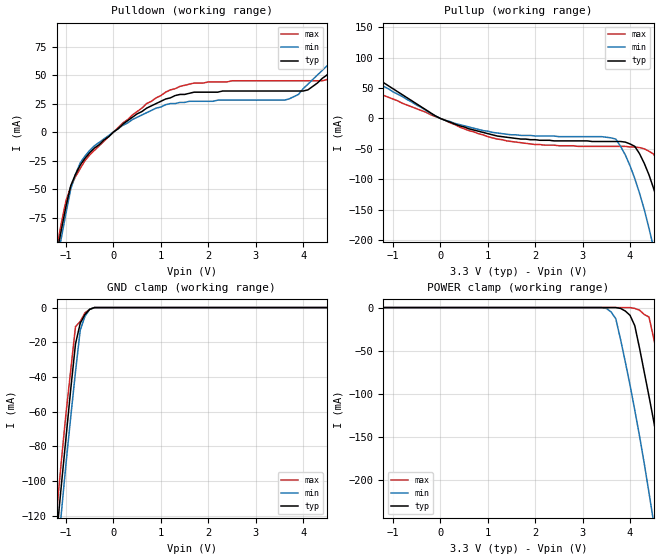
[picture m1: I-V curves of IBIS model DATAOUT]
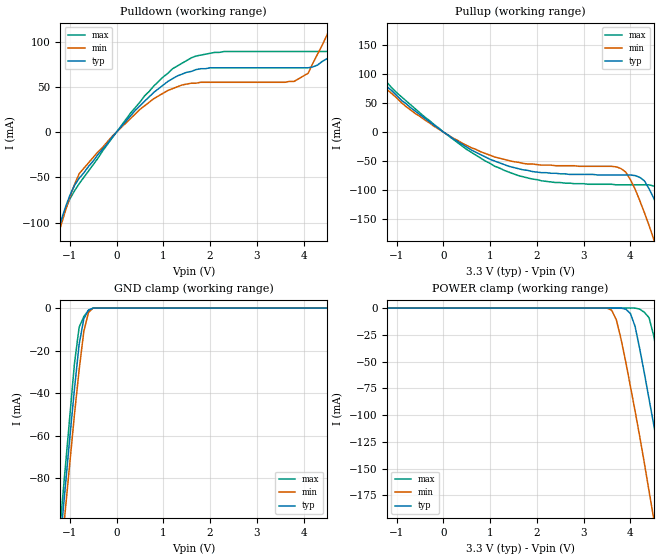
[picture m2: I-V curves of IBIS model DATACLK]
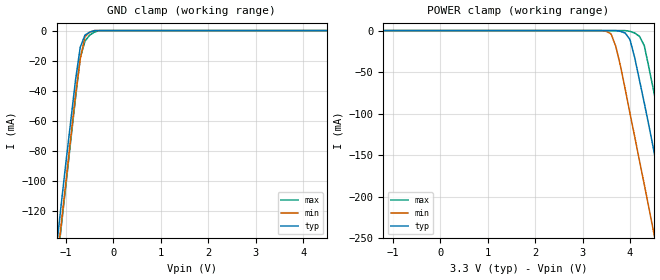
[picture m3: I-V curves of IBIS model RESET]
[IBIS Ver]   2.1
[File name]   x980xx.ibs
[File Rev]   1.1
[Date]   02/10/2005
[Source]   This IBIS model is derived from a combination of bench data
|   and package datasheet data.
[Disclaimer]   This IBIS model is provided "AS IS, WHERE IS, AND WITH NO
|   WARRANTY OF ANY KIND EITHER EXPRESSED OR IMPLIED, INCLUDING
|   BUT NOT LIMITED TO ANY IMPLIED WARRANTIES OF MECHANTABILITY
|   AND FITNESS FOR A PARTICULAR PURPOSE."
|   In no event will Intersil be liable for special, collateral,
|   incidental, or consequential damages in connection with or
|   arising out of the use of this IBIS model. Intersil reserves the
|   right to make changes to the products and IBIS models without
|   prior notice.
[Component]   X980xx
[Manufacturer] Intersil, Inc.
[Package]
|   typ   min   max
R_pkg   170m   147m   193m
L_pkg   8.73nH   7.02nH   10.43nH
C_pkg   1.11pF   0.85pF   1.37pF
[Pin]   signal_name   model_name
1   NC   NC
2   NC   NC
3   GNDA   GND
4   VBYPASS   POWER
5   GNDA   GND
6   VA   POWER
7   RIN1   RGBIN
8   GNDA   GND
9   VBYPASS   POWER
10   GNDA   GND
11   VA   POWER
12   GIN1   RGBIN
13   RGBGND1   GND
14   SOGIN1   SOGIN
15   GNDA   GND
16   VBYPASS   POWER
17   GNDA   GND
18   VA   POWER
19   BIN1   RGBIN
20   VA   POWER
21   GNDA   GND
22   RIN2   RGBIN
23   GNDA   GND
24   GIN2   RGBIN
25   RGBGND2   GND
26   SOGIN2   SOGIN
27   GNDA   GND
28   BIN2   RGBIN
29   VA   POWER
30   GNDA   GND
31   VCOREADC   POWER
32   GNDD   GND
33   HSYNCIN1   HSYNCIN
34   HSYNCIN2   HSYNCIN
35   VA   POWER
36   GNDA   GND
37   GNDX   GND
38   VX   POWER
39   XTALIN   XTALIN
40   XTALOUT   XTALIN
41   CLKINVIN   DIGIN
42   VPLL   POWER
43   GNDD   GND
44   VSYNCIN1   VSYNCIN
45   VSYNCIN2   VSYNCIN
46   RESETB   RESET
47   XTALCLKOUT   XCLKOUT
48   SADDR   DIGIN
49   SDA   SDA
50   SCL   VSYNCIN
51   GNDD   GND
52   VCORE   POWER
53   GNDD   GND
54   VD   POWER
55   BS7   DATAOUT
56   BS6   DATAOUT
57   BS5   DATAOUT
58   BS4   DATAOUT
59   BS3   DATAOUT
60   BS2   DATAOUT
61   BS1   DATAOUT
62   BS0   DATAOUT
63   NC   NC
64   VREGOUT   POWER
65   VREGIN   POWER
66   GNDD   GND
67   VD   POWER
68   BP7   DATAOUT
69   BP6   DATAOUT
70   BP5   DATAOUT
71   BP4   DATAOUT
72   BP3   DATAOUT
73   BP2   DATAOUT
74   BP1   DATAOUT
75   BP0   DATAOUT
76   GNDD   GND
77   VD   POWER
78   GNDD   GND
79   VCORE   POWER
80   GS7   DATAOUT
81   GS6   DATAOUT
82   GS5   DATAOUT
83   GS4   DATAOUT
84   GS3   DATAOUT
85   GS2   DATAOUT
86   GS1   DATAOUT
87   GS0   DATAOUT
88   GNDD   GND
89   VD   POWER
90   GP7   DATAOUT
91   GP6   DATAOUT
92   GP5   DATAOUT
93   GP4   DATAOUT
94   GP3   DATAOUT
95   GP2   DATAOUT
96   GP1   DATAOUT
97   GP0   DATAOUT
98   GNDD   GND
99   VD   POWER
100   RS7   DATAOUT
101   RS6   DATAOUT
102   RS5   DATAOUT
103   RS4   DATAOUT
104   RS3   DATAOUT
105   RS2   DATAOUT
106   RS1   DATAOUT
107   RS0   DATAOUT
108   GNDD   GND
109   VCORE   POWER
110   GNDD   GND
111   VD   POWER
112   RP7   DATAOUT
113   RP6   DATAOUT
114   RP5   DATAOUT
115   RP4   DATAOUT
116   RP3   DATAOUT
117   RP2   DATAOUT
118   RP1   DATAOUT
119   RP0   DATAOUT
120   GNDD   GND
121   DATAOUTCLK   DATACLK
122   DATAOUTCLKB   DATACLK
123   GNDD   GND
124   VD   POWER
125   HSOUT   SYNCOUT
126   VSOUT   SYNCOUT
127   HSYNCOUT   SYNCOUT
128   VSYNCOUT   SYNCOUT
| Models and submodels in the file (12): DATAOUT (Output), DATACLK (Output), RESET (Input), RGBIN (Input), XTALIN (Input), DIGIN (Input), HSYNCIN (Input), VSYNCIN (Input), SOGIN (Input), SYNCOUT (Output), XCLKOUT (Output), SDA (I/O)
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|   DATAOUT MODEL
[Model]   DATAOUT
Model_type   Output
C_comp   3.481pF  3.352pF  3.612pF
|   typ   min   max
[Voltage Range]   3.3   3   3.6
[Temperature Range]  25   85   -40
[Ramp]
dV/dt_r   1.950/1.585n   1.880/0.778n   1.870/0.540n
dV/dt_f   1.950/1.210n   1.880/1.039n   1.850/0.707n
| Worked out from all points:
|   slope of the pulldown table from 0 to 0.495 V, typ, clamps not added: 31.2 ohm
|   slope of the pullup table from 0 to 0.495 V, typ, clamps not added: 35.6 ohm
|   GND clamp passes 1 mA (typ) near -0.50 V on its own axis
[Pulldown]
|V   I(typ)   I(min)   I(max)
-3.3V     -1.144A    -1.032A    -1.176A
-1.2V     -108mA     -116mA     -103mA
-1.1V     -86mA      -93mA      -80mA
-900mV    -47mA      -50mA      -48mA
-500mV    -18mA      -16mA      -20mA
1.2V      30mA       25mA       37mA
3.7V      36mA       29mA       45mA
4.1V      37mA       42mA       45mA
4.5V      50mA       58mA       46mA
5.3V      78mA       91mA       77mA
5.7V      92mA       107mA      93mA
6.6V      124mA      144mA      128mA
[Pullup]
|V   I(typ)   I(min)   I(max)
-3.3V     150mA      134mA      98mA
400mV     -12mA      -10mA      -14mA
2V        -35mA      -29mA      -43mA
3.7V      -38mA      -34mA      -46mA
3.9V      -39mA      -60mA      -46mA
4.1V      -46mA      -99mA      -47mA
4.3V      -74mA      -150mA     -50mA
4.4V      -93mA      -181mA     -54mA
4.5V      -116mA     -214mA     -59mA
4.8V      -206mA     -335mA     -114mA
5.1V      -328mA     -484mA     -200mA
6.6V      -1.426A    -1.661A    -1.12A
[GND_Clamp]
|V   I(typ)   I(min)   I(max)
-3.3V     -979mA     -1.157A    -1.154A
-1.2V     -132mA     -149mA     -119mA
-1.1V     -103mA     -119mA     -89mA
-1V       -75mA      -90mA      -61mA
-900mV    -47mA      -63mA      -36mA
-800mV    -21mA      -37mA      -11mA
-700mV    -9mA       -13mA      -8mA
-600mV    -4mA       -5mA       -3mA
-500mV    -1mA       -1mA       -1mA
-400mV    0A         0A         0A
6.6V      0A         0A         0A
[Power_Clamp]
|V   I(typ)   I(min)   I(max)
-3.3V     0A         0A         0A
3.5V      0A         -1mA       0A
3.7V      0A         -13mA      0A
4V        -9mA       -90mA      0A
4.1V      -21mA      -119mA     -1mA
4.2V      -47mA      -149mA     -3mA
4.4V      -103mA     -215mA     -11mA
4.5V      -132mA     -250mA     -36mA
4.8V      -226mA     -365mA     -119mA
5.1V      -329mA     -495mA     -218mA
5.2V      -365mA     -541mA     -255mA
6.6V      -979mA     -1.359A    -957mA
|   DATACLK MODEL
[Model]   DATACLK
Model_type   Output
C_comp   3.384pF  3.254pF  3.516pF
|   typ   min   max
[Voltage Range]   3.3   3   3.6
[Temperature Range]  25   85   -40
[Ramp]
dV/dt_r   1.930/0.973n   1.850/0.935n   2.100/0.600n
dV/dt_f   1.930/0.984n   1.850/0.881n   2.100/0.560n
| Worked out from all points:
|   slope of the pulldown table from 0 to 0.495 V, typ, clamps not added: 17.2 ohm
|   slope of the pullup table from 0 to 0.495 V, typ, clamps not added: 19.2 ohm
|   GND clamp passes 1 mA (typ) near -0.60 V on its own axis
[Pulldown]
|V   I(typ)   I(min)   I(max)
-3.3V     -1.096A    -943mA     -1.164A
-1.3V     -120mA     -125mA     -120mA
-800mV    -51mA      -46mA      -57mA
-400mV    -25mA      -22mA      -29mA
800mV     44mA       37mA       51mA
1.6V      67mA       54mA       82mA
3.8V      71mA       56mA       89mA
4.1V      71mA       65mA       89mA
4.6V      84mA       119mA      89mA
4.9V      121mA      157mA      100mA
5.3V      168mA      216mA      117mA
6.6V      386mA      475mA      219mA
[Pullup]
|V   I(typ)   I(min)   I(max)
-3.3V     383mA      465mA      698mA
-2V       183mA      177mA      175mA
-1.4V     93mA       101mA      101mA
-900mV    55mA       51mA       61mA
1.1V      -50mA      -43mA      -59mA
2.1V      -70mA      -57mA      -84mA
3.8V      -74mA      -63mA      -91mA
4.2V      -78mA      -118mA     -91mA
4.5V      -114mA     -185mA     -93mA
4.8V      -177mA     -262mA     -118mA
5.1V      -262mA     -350mA     -181mA
6.6V      -1.009A    -953mA     -793mA
[GND_Clamp]
|V   I(typ)   I(min)   I(max)
-3.3V     -751mA     -767mA     -642mA
-1.2V     -109mA     -120mA     -101mA
-1.1V     -85mA      -96mA      -76mA
-1V       -61mA      -73mA      -51mA
-900mV    -38mA      -50mA      -26mA
-800mV    -17mA      -29mA      -9mA
-700mV    -5mA       -11mA      -4mA
-600mV    -1mA       -2mA       -1mA
-500mV    0A         0A         0A
6.6V      0A         0A         0A
[Power_Clamp]
|V   I(typ)   I(min)   I(max)
-3.3V     0A         0A         0A
3.5V      0A         0A         0A
3.7V      0A         -11mA      0A
4V        -5mA       -73mA      0A
4.1V      -17mA      -96mA      0A
4.2V      -38mA      -120mA     -1mA
4.4V      -85mA      -171mA     -9mA
4.5V      -109mA     -197mA     -26mA
4.8V      -184mA     -278mA     -101mA
5.1V      -265mA     -365mA     -177mA
5.2V      -293mA     -395mA     -202mA
6.6V      -751mA     -881mA     -563mA
|   RESET MODEL
[Model]   RESET
Model_type   Input
Vinl = 0.8Vc
Vinh = 2.5V
C_comp   3.375pF  3.249pF  3.504pF
|   typ   min   max
[Voltage Range]   3.3   3   3.6
[Temperature Range]  25   85   -40
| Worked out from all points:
|   GND clamp passes 1 mA (typ) near -0.50 V on its own axis
[GND_Clamp]
|V   I(typ)   I(min)   I(max)
-3.3V     -938mA     -761mA     -805mA
-1.2V     -144mA     -157mA     -159mA
-1.1V     -115mA     -128mA     -130mA
-1V       -87mA      -100mA     -102mA
-900mV    -60mA      -71mA      -73mA
-800mV    -33mA      -43mA      -45mA
-700mV    -11mA      -19mA      -18mA
-600mV    -3mA       -4mA       -7mA
-500mV    -1mA       -1mA       -3mA
-400mV    0A         0A         -1mA
-300mV    0A         0A         0A
6.6V      0A         0A         0A
[Power_Clamp]
|V   I(typ)   I(min)   I(max)
-3.3V     0A         0A         0A
3.5V      0A         -1mA       0A
3.6V      0A         -4mA       0A
3.7V      0A         -19mA      0A
3.9V      -3mA       -71mA      0A
4V        -11mA      -100mA     -1mA
4.1V      -33mA      -128mA     -3mA
4.3V      -87mA      -185mA     -18mA
4.5V      -144mA     -243mA     -73mA
4.8V      -236mA     -329mA     -159mA
5.1V      -335mA     -415mA     -246mA
6.6V      -938mA     -848mA     -708mA
